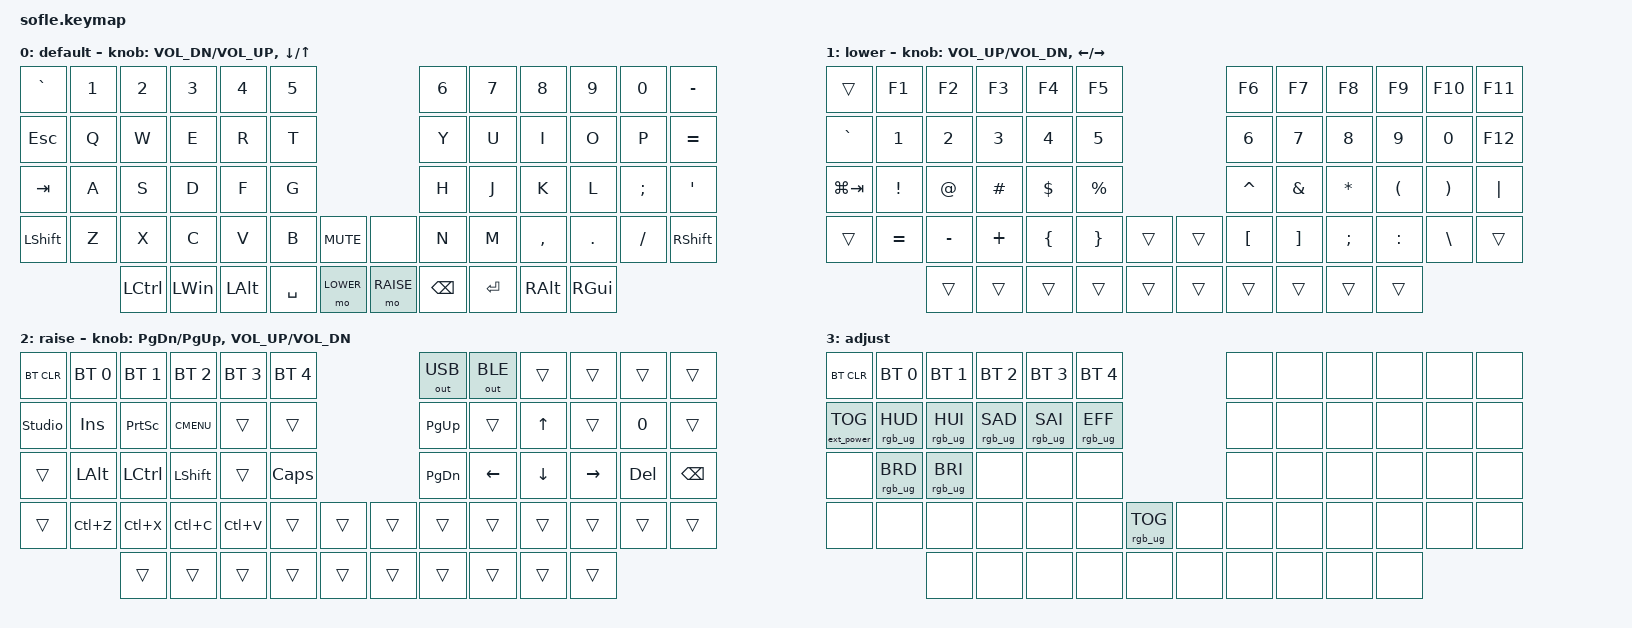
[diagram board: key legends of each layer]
/*
 * Copyright (c) 2020 The ZMK Contributors
 *
 * SPDX-License-Identifier: MIT
 */

#include <behaviors.dtsi>
#include <dt-bindings/zmk/keys.h>
#include <dt-bindings/zmk/bt.h>
#include <dt-bindings/zmk/outputs.h>
#include <dt-bindings/zmk/rgb.h>
#include <dt-bindings/zmk/ext_power.h>

#define BASE 0
#define LOWER 1
#define RAISE 2
#define ADJUST 3
#define CONFIG_WIRELESS

/ {

   // Activate ADJUST layer by pressing raise and lower
    conditional_layers {
        compatible = "zmk,conditional-layers";
        adjust_layer {
            if-layers = <LOWER RAISE>;
            then-layer = <ADJUST>;
        };
    };

    keymap {
        compatible = "zmk,keymap";

        default_layer {
            display-name = "default";
 /*
            *
            *   ,-----------------------------------------.                 ,-----------------------------------------.
            *   |   ~  |   1  |   2  |   3  |   4  |   5  |                 |  6   |  7   |  8   |  9   |  0   |  -   |
            *   +------+------+------+------+------|------.                 .------+------+------+------+------+------+
            *   | ESC  |   Q  |   W  |   E  |   R  |   T  |                 |  Y   |  U   |  I   |  O   |  P   |  =   |
            *   +------+------+------+------+------|------+                 .------+------+------+------+------+------+
            *   | TAB  |   A  |   S  |   D  |   F  |   G  |                 |  H   |  J   |  K   |  L   |  ;   |  '   |
            *   +------+------+------+------+------+------+------.   .------+------+------+------+------+------+------+
            *   |SHIFT |   Z  |   X  |   C  |   V  |   B  | MUTE |   |      |  Q   |  N   |  M   |  ,   |  .   | SHIFT|
            *   `------+------+------+------+------+------+------+   +------+------+------+------+------+------+------'
            *                 | CTRL | WIN  | ALT  | SPACE| LOWER|   | RAISE| BCPS | ENTER| ALT  | GUI  |
            *                 `------+------+------+------+------'   '------+------+------+------+------'
            *
            *   Encoder Left:    VOL DOWN <-> VOL UP
            *   Encoder Right: ARROW DOWN <-> ARROW UP
*/
            bindings = <
                &kp GRAVE &kp N1 &kp N2     &kp N3    &kp N4    &kp N5                              &kp N6     &kp N7       &kp N8        &kp N9   &kp N0   &kp MINUS
                &kp ESC   &kp Q  &kp W      &kp E     &kp R     &kp T                               &kp Y      &kp U        &kp I         &kp O    &kp P    &kp EQUAL
                &kp TAB   &kp A  &kp S      &kp D     &kp F     &kp G                               &kp H      &kp J        &kp K         &kp L    &kp SEMI &kp SQT
                &kp LSHFT &kp Z  &kp X      &kp C     &kp V     &kp B      &kp C_MUTE   &none       &kp N      &kp M        &kp COMMA     &kp DOT  &kp FSLH &kp RSHFT
                                 &kp LCTRL  &kp LWIN  &kp LALT  &kp SPACE  &mo LOWER    &mo RAISE   &kp BSPC   &kp RET      &kp RALT      &kp RGUI
            >;

            sensor-bindings = <&inc_dec_kp C_VOL_DN C_VOL_UP &inc_dec_kp DOWN_ARROW UP_ARROW>;
        };

        lower_layer {
            display-name = "lower";
 /*
            *
            *   ,-----------------------------------------.                 ,-----------------------------------------.
            *   |   ~  |  F1  |  F2  |  F3  |  F4  |  F5  |                 |  F6  |  F7  |  F8  |  F9  | F10  | F11  |
            *   +------+------+------+------+------|------.                 .------+------+------+------+------+------+
            *   | ESC  |   1  |   2  |   3  |   4  |   5  |                 |  6   |  7   |  8   |  9   |  0   | F12  |
            *   +------+------+------+------+------|------+                 .------+------+------+------+------+------+
            *   |TABWIN|   !  |   @  |   #  |   $  |   %  |                 |  ^   |  &   |  *   |  (   |  )   |  |   |
            *   +------+------+------+------+------+------+------.   .------+------+------+------+------+------+------+
            *   |      |   =  |   -  |   +  |   {  |   }  |      |   |      |  [   |  ]   |  ;   |  :   |  \   |      |
            *   `------+------+------+------+------+------+------+   +------+------+------+------+------+------+------'
            *                 |      |      |      |      |      |   |      |      |      |      |      |
            *                 `------+------+------+------+------'   '------+------+------+------+------'
            *
            *   Encoder Left:    VOL DOWN <-> VOL UP
            *   Encoder Right: ARROW DOWN <-> ARROW UP
*/
            bindings = <
&trans       &kp F1    &kp F2    &kp F3      &kp F4    &kp F5                    &kp F6    &kp F7   &kp F8    &kp F9    &kp F10   &kp F11
&kp GRAVE    &kp N1    &kp N2    &kp N3      &kp N4    &kp N5                    &kp N6    &kp N7   &kp N8    &kp N9    &kp N0    &kp F12
&kp LG(TAB)  &kp EXCL  &kp AT    &kp HASH    &kp DLLR  &kp PRCNT                 &kp CARET &kp AMPS &kp ASTRK &kp LPAR  &kp RPAR  &kp PIPE
&trans       &kp EQUAL &kp MINUS &kp PLUS    &kp LBRC  &kp RBRC   &trans &trans  &kp LBKT  &kp RBKT &kp SEMI  &kp COLON &kp BSLH  &trans
                       &trans    &trans      &trans    &trans     &trans &trans  &trans    &trans   &trans    &trans
            >;

            sensor-bindings = <&inc_dec_kp C_VOL_UP C_VOL_DN &inc_dec_kp LEFT_ARROW RIGHT_ARROW>;
        };

        raise_layer {
            display-name = "raise";
/*
            *
            *   ,-----------------------------------------.                 ,-----------------------------------------.
            *   |BTCLR | BT1  | BT2  |  BT3 |  BT4 |  BT5 |                 |OUTUSB|OUTBLE|      |      |      |      |
            *   +------+------+------+------+------|------.                 .------+------+------+------+------+------+
            *   |STUDIO| INS  | PSCR | GUI  |      |      |                 | PGUP | PGDN |  ^   |      |      |      |
            *   +------+------+------+------+------|------+                 .------+------+------+------+------+------+
            *   |      | ALT  | CTRL |SHIFT |      | CAPS |                 | PGDN | <-   | V    | ->   | DEL  | BSPC |
            *   +------+------+------+------+------+------+------.   .------+------+------+------+------+------+------+
            *   |      | UNDO | CUT  | COPY |PASTE |      |      |   |      |      |      |      |      |      |      |
            *   `------+------+------+------+------+------+------+   +------+------+------+------+------+------+------'
            *                 |      |      |      |      |      |   |      |      |      |      |      |
            *                 `------+------+------+------+------'   '------+------+------+------+------'
            *
            *   Encoder Left:    VOL DOWN <-> VOL UP
            *   Encoder Right: SROLL DOWN <-> SROLL UP
*/
            bindings = <
                &bt BT_CLR      &bt BT_SEL 0 &bt BT_SEL 1 &bt BT_SEL 2 &bt BT_SEL 3 &bt BT_SEL 4                  &out OUT_USB  &out OUT_BLE    &trans   &trans    &trans  &trans
                &studio_unlock  &kp INS      &kp PSCRN    &kp K_CMENU  &trans       &trans                        &kp PG_UP     &trans          &kp UP   &trans    &kp N0  &trans
                &trans          &kp LALT     &kp LCTRL    &kp LSHFT    &trans       &kp CLCK                      &kp PG_DN     &kp LEFT        &kp DOWN &kp RIGHT &kp DEL &kp BSPC
                &trans          &kp LC(Z)    &kp LC(X)    &kp LC(C)    &kp LC(V)    &trans        &trans  &trans  &trans        &trans          &trans   &trans    &trans  &trans
                                             &trans       &trans       &trans       &trans        &trans  &trans  &trans        &trans          &trans   &trans
            >;

            sensor-bindings = <&inc_dec_kp PG_DN PG_UP &inc_dec_kp C_VOL_UP C_VOL_DN>;
        };

        adjust_layer {
/*
            *
            *   ,-----------------------------------------.                 ,-----------------------------------------.
            *   |BTCLR | BT1  | BT2  | BT3  | BT4  | BT5  |                 |      |      |      |      |      |      |
            *   +------+------+------+------+------|------.                 .------+------+------+------+------+------+
            *   |EXTPWR| HUD  | HUI  | SAD  | SAI  | EFF  |                 |      |      |      |      |      |      |
            *   +------+------+------+------+------|------+                 .------+------+------+------+------+------+
            *   |      | BRD  | BRI  |      |      |      |                 |      |      |      |      |      |      |
            *   +------+------+------+------+------+------+------.   .------+------+------+------+------+------+------+
            *   |      |      |      |      |      |      |TOGGLE|   |      |      |      |      |      |      |      |
            *   `------+------+------+------+------+------+------+   +------+------+------+------+------+------+------'
            *                 |      |      |      |      |      |   |      |      |      |      |      |
            *                 `------+------+------+------+------'   '------+------+------+------+------'
            *
            *   Encoder Left:    RGB Toggle
            *   Encoder Right: PAGE DOWN <-> PAGE UP
*/
            display-name = "adjust";
            bindings = <
                &bt BT_CLR        &bt BT_SEL 0    &bt BT_SEL 1    &bt BT_SEL 2    &bt BT_SEL 3    &bt BT_SEL 4                            &none &none &none &none &none &none
                &ext_power EP_TOG &rgb_ug RGB_HUD &rgb_ug RGB_HUI &rgb_ug RGB_SAD &rgb_ug RGB_SAI &rgb_ug RGB_EFF                         &none &none &none &none &none &none
                &none             &rgb_ug RGB_BRD &rgb_ug RGB_BRI &none           &none           &none                                   &none &none &none &none &none &none
                &none             &none           &none           &none           &none           &none            &rgb_ug RGB_TOG &none  &none &none &none &none &none &none
                                                  &none           &none           &none           &none            &none           &none  &none &none &none &none
            >;
        };

    };
};
